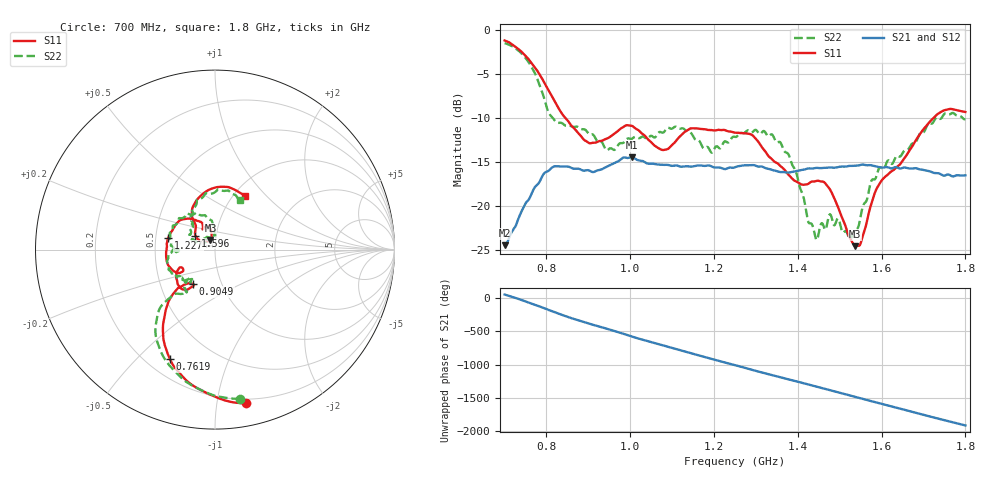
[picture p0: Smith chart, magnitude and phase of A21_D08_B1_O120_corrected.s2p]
! Created with skrf 1.9.0 (http://scikit-rf.org).
# Hz S RI R 50.0
!freq ReS11 ImS11 ReS21 ImS21 ReS12 ImS12 ReS22 ImS22
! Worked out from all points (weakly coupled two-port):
!   1601 points, 700 MHz to 1.8 GHz, reference 50 ohm
!   highest |S21| = -14.46 dB at 1.003 GHz (marker M1); lowest = -24.5 dB at 700.7 MHz (marker M2)
!   lowest |S11| = -24.6 dB at 1.537 GHz (marker M3), VSWR 1.12, Z = 47.2 + j5.02 ohm
!   |S11| at or under -10 dB: 845.2 MHz to 1.724 GHz (878.5 MHz wide, 68.4 % of centre)
!   |S22| runs from -23.9 to -1.5 dB; largest |S21 - S12| = 0.0037
!   S11 on the Smith chart (normalised r, x): 700 MHz: 0.17, -1.21; 761.9 MHz: 0.29, -0.63; 904.9 MHz: 0.73, -0.30; 1.227 GHz: 0.58, +0.08; 1.596 GHz: 0.79, +0.13; 1.8 GHz: 1.12, +0.76
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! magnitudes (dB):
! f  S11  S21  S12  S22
! 700 MHz  -1.2  -24.5  -24.3  -1.5
! 700.7 MHz  -1.2  -24.5  -24.2  -1.5
! 761.9 MHz  -3.6  -18.9  -18.8  -4.0
! 811.4 MHz  -7.4  -15.7  -15.7  -9.8
! 883.6 MHz  -12.1  -15.9  -15.8  -11.3
! 904.9 MHz  -12.9  -16.1  -16.0  -11.9
! 944.8 MHz  -12.3  -15.5  -15.6  -13.7
! 1.003 GHz  -10.9  -14.5  -14.6  -12.4
! 1.067 GHz  -13.4  -15.3  -15.3  -11.7
! 1.194 GHz  -11.4  -15.5  -15.5  -14.0
! 1.227 GHz  -11.4  -15.8  -15.7  -12.7
! 1.25 GHz  -11.7  -15.6  -15.6  -12.2
! 1.358 GHz  -15.5  -16.2  -16.1  -12.8
! 1.394 GHz  -17.2  -16.1  -16.1  -16.0
! 1.434 GHz  -17.2  -15.8  -15.7  -22.1
! 1.445 GHz  -17.2  -15.7  -15.7  -23.9
! 1.475 GHz  -18.0  -15.7  -15.7  -21.1
! 1.537 GHz  -24.6  -15.4  -15.4  -22.8
! 1.596 GHz  -17.4  -15.6  -15.6  -15.6
! 1.617 GHz  -16.4  -15.7  -15.6  -14.9
! 1.733 GHz  -9.6  -16.3  -16.3  -9.9
! 1.8 GHz  -9.3  -16.5  -16.5  -10.2
